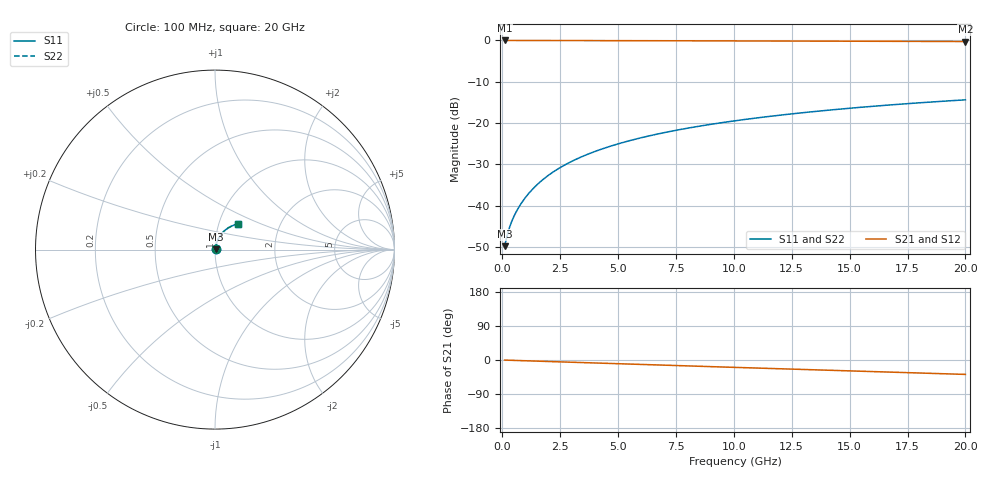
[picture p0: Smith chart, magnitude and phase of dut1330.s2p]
! Touchstone file exported from HFSS 2026.1.0
!  File:  C:/ffzhzh/LocalFiles/Ansys_Project_Files/temp_train_TMRDL_1330_1783165187_55132.aedt
!  Generated:  07:40:55 PM Jul  4, 2026
!  Design:  TMRDL
!  Project:  temp_train_TMRDL_1330_1783165187_55132
! Variables:
!  h_bsmrdl = 2um
!  h_ox = 20um
!  h_rdl = 5um
!  h_sub = 80um
!  h_tmrdl = 3.57um
!  h_tsv = 80um
!  h_via = 3um
!  l_bsmrdl = 300um
!  l_sub = 1034.97um
!  l_tmrdl = 634.97um
!  m_sub = 200um
!  pitch = 34.97um
!  r_tsv = 6um
!  s_tmrdl = 10um
!  w_bsmrdl = 18um
!  w_sub = 500um
!  w_tmrdl = 24.23um
!  x_tsv_center1 = 647.085um
!  x_tsv_center2 = 965.085um
!  x_tsv_center3 = 1624.285um
!  x_tsv_center4 = 1942.285um
!  x_tsv_center5 = 2601.485um
!  x_tsv_center6 = 2919.485um
# GHz S MA R 50.000000
! Terminal data exported
! Port[1] = TM_RDL1_1_T1
! Port[2] = TM_RDL1_1_T2
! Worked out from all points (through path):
!   200 points, 100 MHz to 20 GHz, reference 50 ohm
!   highest |S21| = -0.02 dB at 100 MHz (marker M1); lowest = -0.3 dB at 20 GHz (marker M2)
!   group delay of S21, straight-line fit = 5.27 ps
!   lowest |S11| = -49.8 dB at 100 MHz (marker M3), VSWR 1.01, Z = 50.3 + j0.151 ohm
!   |S11| at or under -10 dB: start of sweep to end of sweep
!   |S22| runs from -49.8 to -14.4 dB; largest |S21 - S12| = 3.5e-15
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0.1  0.003235 27.7  0.9971 -0.2  0.9971 -0.2  0.003235 27.7
! Gamma 0 0 0 0
! Port Impedance 50 0 50 0
0.2  0.004242 42.6  0.9969 -0.4  0.9969 -0.4  0.004242 42.6
0.3  0.005324 50.3  0.9966 -0.6  0.9966 -0.6  0.005324 50.3
0.4  0.006373 55.1  0.9964 -0.8  0.9964 -0.8  0.006373 55.1
0.5  0.007397 58.7  0.9963 -1.0  0.9963 -1.0  0.007397 58.7
0.6  0.008413 61.5  0.9961 -1.2  0.9961 -1.2  0.008412 61.5
0.8  0.01046 65.8  0.996 -1.6  0.996 -1.6  0.01046 65.8
1  0.01255 68.7  0.9958 -2.0  0.9958 -2.0  0.01255 68.7
1.2  0.01468 70.8  0.9957 -2.4  0.9957 -2.4  0.01468 70.8
1.7  0.02011 73.8  0.9954 -3.4  0.9954 -3.4  0.02011 73.8
2.2  0.02559 75.1  0.995 -4.4  0.995 -4.4  0.02559 75.1
2.8  0.03219 75.6  0.9945 -5.5  0.9945 -5.5  0.03219 75.6
3.5  0.03984 75.3  0.9938 -6.9  0.9938 -6.9  0.03984 75.3
4.2  0.0474 74.6  0.993 -8.3  0.993 -8.3  0.0474 74.6
5  0.05592 73.6  0.992 -9.8  0.992 -9.8  0.05592 73.6
5.9  0.06533 72.2  0.9908 -11.6  0.9908 -11.6  0.06533 72.2
6.8  0.07455 70.8  0.9895 -13.3  0.9895 -13.3  0.07455 70.8
8.3  0.08952 68.3  0.9873 -16.2  0.9873 -16.2  0.08953 68.3
10.1  0.1069 65.2  0.9845 -19.6  0.9845 -19.6  0.1069 65.2
13.4  0.137 59.5  0.9792 -25.8  0.9792 -25.8  0.137 59.5
16.7  0.1651 53.8  0.9736 -31.9  0.9736 -31.9  0.1651 53.8
20  0.1907 48.0  0.968 -38.0  0.968 -38.0  0.1908 48.1
